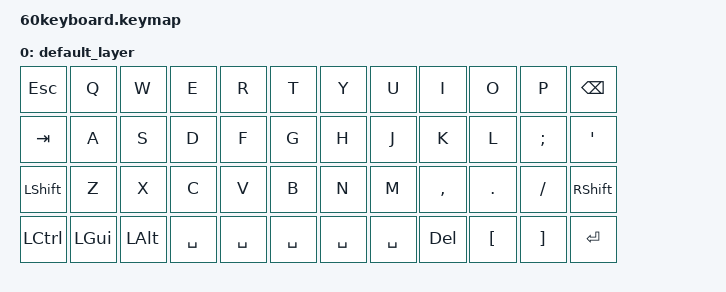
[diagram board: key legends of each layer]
/*
 * Copyright (c) 2020 The ZMK Contributors
 *
 * SPDX-License-Identifier: MIT
 */

#include <behaviors.dtsi>
#include <dt-bindings/zmk/keys.h>
#include <dt-bindings/zmk/bt.h>

/ {
    keymap {
        compatible = "zmk,keymap";

        default_layer {
            bindings = <
                &kp ESC   &kp Q    &kp W    &kp E     &kp R     &kp T     &kp Y     &kp U     &kp I     &kp O     &kp P     &kp BSPC
                &kp TAB   &kp A    &kp S    &kp D     &kp F     &kp G     &kp H     &kp J     &kp K     &kp L     &kp SEMI  &kp SQT
                &kp LSHFT &kp Z    &kp X    &kp C     &kp V     &kp B     &kp N     &kp M     &kp COMMA &kp DOT   &kp FSLH  &kp RSHFT
                &kp LCTRL &kp LGUI &kp LALT &kp SPACE &kp SPACE &kp SPACE &kp SPACE &kp SPACE &kp DEL   &kp LBKT  &kp RBKT  &kp ENTER
            >;
        };
    };
};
